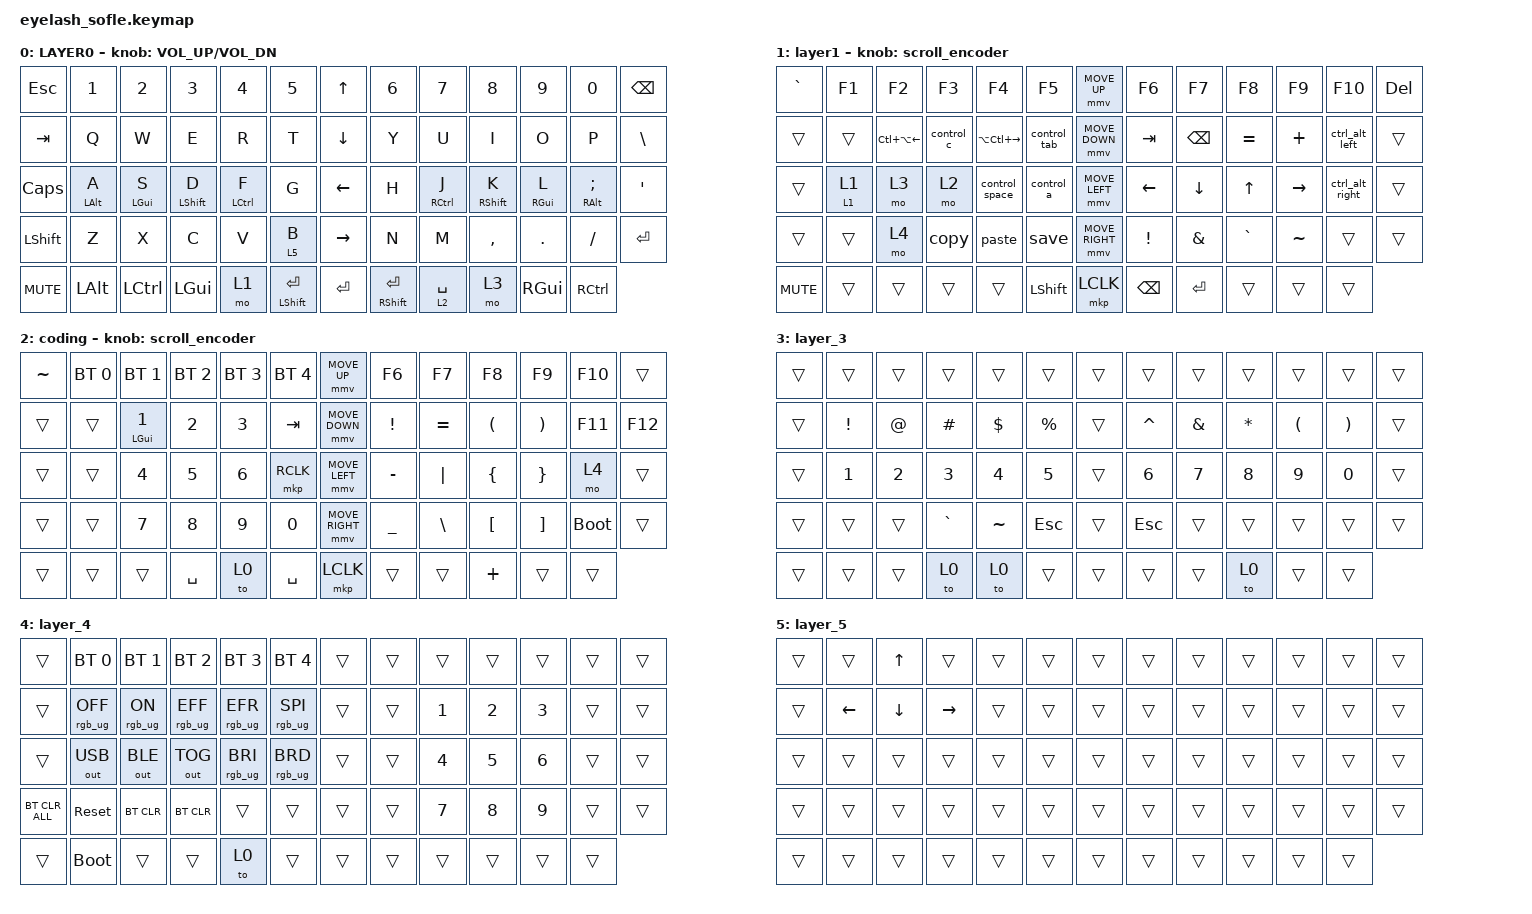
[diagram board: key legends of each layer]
#include <dt-bindings/zmk/mouse.h>
#include <input/processors.dtsi>
#include <behaviors.dtsi>
#include <dt-bindings/zmk/bt.h>
#include <dt-bindings/zmk/keys.h>
#include <dt-bindings/zmk/outputs.h>
#include <dt-bindings/zmk/pointing.h>
#include <dt-bindings/zmk/rgb.h>

/*

   &mmv_input_listener {
       input-processors = <&zip_xy_scaler 2 1>;
   };

   &msc_input_listener {
       input-processors = <&zip_xy_scaler 2 1>;
   };

 */

#define ZMK_MOUSE_DEFAULT_MOVE_VAL 1200  // 600
#define ZMK_MOUSE_DEFAULT_SCRL_VAL 20    // 10

/ {
    behaviors {
        mmv {
            acceleration-exponent = <1>;      // 1
            time-to-max-speed-ms = <900>;    // 40
            delay-ms = <0>;                   // 0
        };

        msc {
            acceleration-exponent = <1>;      // 0
            time-to-max-speed-ms = <400>;      // 500
            delay-ms = <0>;                   //   10
        };
    };

    scroll_encoder: scroll_encoder {
        compatible = "zmk,behavior-sensor-rotate";
        #sensor-binding-cells = <0>;
        bindings = <&msc SCRL_DOWN>, <&msc SCRL_UP>;

        tap-ms = <30>;
    };

    left_hold_homerow: left_hold_homerow {
        compatible = "zmk,behavior-hold-tap";
        label = "LEFT_HOLD_HOMEROW";
        bindings = <&kp>, <&kp>;

        #binding-cells = <2>;
        tapping-term-ms = <250>;
        flavor = "tap-preferred";
        hold-trigger-key-positions = <7 8 9 10 11 24 25 38 37 49 48 47 46 36 35 34 33 50 23 22 21 20>;
    };

    sticky_layer: sticky_layer {
        compatible = "zmk,behavior-hold-tap";
        label = "STICKY_LAYER";
        bindings = <&mo>, <&tog>;

        #binding-cells = <2>;
        hold-trigger-key-positions = <56 61>;
        flavor = "tap-preferred";
        tapping-term-ms = <200>;
    };

    layer_key: layer_key {
        compatible = "zmk,behavior-hold-tap";
        label = "LAYER_KEY";
        bindings = <&mo>, <&kp>;

        #binding-cells = <2>;
        flavor = "tap-preferred";
        require-prior-idle-ms = <100>;
        tapping-term-ms = <200>;
    };

    right_home_row: right_home_row {
        compatible = "zmk,behavior-hold-tap";
        label = "RIGHT_HOME_ROW";
        bindings = <&kp>, <&kp>;

        #binding-cells = <2>;
        tapping-term-ms = <250>;
        flavor = "tap-preferred";
        hold-trigger-key-positions = <14 27 40 41 42 43 44 31 18 17 16 15 1 4 5 3 2 28 29 30>;
    };

    macros {
        control_c: control_c {
            compatible = "zmk,behavior-macro";
            #binding-cells = <0>;
            bindings = <&kp LC(C)>;
            label = "CONTROL_C";
        };

        control_space: control_space {
            compatible = "zmk,behavior-macro";
            #binding-cells = <0>;
            bindings = <&kp LC(SPACE)>;
            label = "CONTROL_SPACE";
        };

        alt_tab: alt_tab {
            compatible = "zmk,behavior-macro";
            #binding-cells = <0>;
            bindings = <&kp LG(TAB)>;
            label = "ALT_TAB";
        };

        layor2: leftgui {
            compatible = "zmk,behavior-macro";
            #binding-cells = <0>;
            bindings = <&mo 2>;
            label = "LEFTGUI";
        };

        copy: copy {
            compatible = "zmk,behavior-macro";
            #binding-cells = <0>;
            bindings = <&kp LG(C)>;
            label = "COPY";
        };

        paste: paste {
            compatible = "zmk,behavior-macro";
            #binding-cells = <0>;
            bindings = <&kp LG(V)>;
            label = "PASTE";
        };

        quit: quit {
            compatible = "zmk,behavior-macro";
            #binding-cells = <0>;
            bindings = <&kp RG(Q)>;
            label = "QUIT";
        };

        save: save {
            compatible = "zmk,behavior-macro";
            #binding-cells = <0>;
            bindings = <&kp LG(S)>;
            label = "SAVE";
        };

        control_a: control_a {
            compatible = "zmk,behavior-macro";
            #binding-cells = <0>;
            bindings = <&kp LC(A)>;
            label = "CONTROL_A";
        };

        control_tab: control_tab {
            compatible = "zmk,behavior-macro";
            #binding-cells = <0>;
            bindings = <&kp LC(TAB)>;
            label = "CONTROL_TAB";
        };

        ctrl_alt_left: ctrl_alt_left {
            compatible = "zmk,behavior-macro";
            #binding-cells = <0>;
            bindings = <&kp LA(LC(LEFT_ARROW))>;
            label = "CTRL_ALT_LEFT";
        };

        ctrl_alt_right: ctrl_alt_right {
            compatible = "zmk,behavior-macro";
            #binding-cells = <0>;
            bindings = <&kp LA(LC(RIGHT))>;
            label = "CTRL_ALT_RIGHT";
        };
    };

    combos {
        compatible = "zmk,combos";

        save {
            bindings = <&sticky_layer 1 1>;
            key-positions = <27 56>;
        };

        escape {
            bindings = <&kp ESCAPE>;
            key-positions = <57 59>;
            timeout-ms = <200>;
        };

        layer2 {
            bindings = <&mo 2>;
            key-positions = <56 29>;
        };

        layer3 {
            bindings = <&mo 3>;
            key-positions = <56 28>;
        };

        layer4 {
            bindings = <&mo 4>;
            key-positions = <56 41>;
        };
    };

    keymap {
        compatible = "zmk,keymap";

        layer0 {
            bindings = <
&kp ESC     &kp N1                         &kp N2                         &kp N3                      &kp N4                      &kp N5                  &kp UP_ARROW     &kp N6                 &kp N7                   &kp N8                   &kp N9                       &kp N0                               &kp BACKSPACE
&kp TAB     &kp Q                          &kp W                          &kp E                       &kp R                       &kp T                   &kp DOWN_ARROW   &kp Y                  &kp U                    &kp I                    &kp O                        &kp P                                &kp BSLH
&kp CAPS    &left_hold_homerow LEFT_ALT A  &left_hold_homerow LEFT_GUI S  &left_hold_homerow LSHFT D  &left_hold_homerow LCTRL F  &kp G                   &kp LEFT_ARROW   &kp H                  &right_home_row RCTRL J  &right_home_row RSHFT K  &right_home_row RIGHT_GUI L  &right_home_row RIGHT_ALT SEMICOLON  &kp APOS
&kp LSHFT   &kp Z                          &kp X                          &kp C                       &kp V                       &layer_key 5 B          &kp RIGHT_ARROW  &kp N                  &kp M                    &kp COMMA                &kp DOT                      &kp FSLH                             &kp ENTER
&kp C_MUTE  &kp LEFT_ALT                   &kp LCTRL                      &kp LEFT_GUI                &mo 1                       &mt LEFT_SHIFT ENTER    &kp ENTER        &mt RIGHT_SHIFT ENTER  &layer_key 2 SPACE       &mo 3                    &kp RIGHT_GUI                &kp RIGHT_CONTROL
            >;

            sensor-bindings = <&inc_dec_kp C_VOLUME_UP C_VOL_DN>;
            display-name = "LAYER0";
        };

        layer_1 {
            bindings = <
&kp GRAVE   &kp F1             &kp F2                  &kp F3      &kp F4             &kp F5            &mmv MOVE_UP     &kp F6          &kp F7         &kp F8        &kp F9     &kp F10          &kp DEL
&trans      &trans             &kp LC(LA(LEFT_ARROW))  &control_c  &kp LA(LC(RIGHT))  &control_tab      &mmv MOVE_DOWN   &kp TAB         &kp BACKSPACE  &kp EQUAL     &kp PLUS   &ctrl_alt_left   &trans
&trans      &sticky_layer 1 1  &mo 3                   &mo 2       &control_space     &control_a        &mmv MOVE_LEFT   &kp LEFT_ARROW  &kp DOWN       &kp UP_ARROW  &kp RIGHT  &ctrl_alt_right  &trans
&trans      &trans             &mo 4                   &copy       &paste             &save             &mmv MOVE_RIGHT  &kp EXCL        &kp AMPS       &kp GRAVE     &kp TILDE  &trans           &trans
&kp C_MUTE  &trans             &trans                  &trans      &trans             &kp LEFT_SHIFT    &mkp LCLK        &kp BACKSPACE   &kp ENTER      &trans        &trans     &trans
            >;

            display-name = "layer1";
            sensor-bindings = <&scroll_encoder>;
        };

        coding {
            bindings = <
&kp TILDE  &bt BT_SEL 0  &bt BT_SEL 1                          &bt BT_SEL 2  &bt BT_SEL 3  &bt BT_SEL 4    &mmv MOVE_UP     &kp F6     &kp F7         &kp F8                &kp F9                 &kp F10      &trans
&trans     &trans        &left_hold_homerow LEFT_GUI NUMBER_1  &kp NUMBER_2  &kp NUMBER_3  &kp TAB         &mmv MOVE_DOWN   &kp EXCL   &kp EQUAL      &kp LEFT_PARENTHESIS  &kp RIGHT_PARENTHESIS  &kp F11      &kp F12
&trans     &trans        &kp NUMBER_4                          &kp NUMBER_5  &kp NUMBER_6  &mkp RCLK       &mmv MOVE_LEFT   &kp MINUS  &kp PIPE       &kp LEFT_BRACE        &kp RIGHT_BRACE        &mo 4        &trans
&trans     &trans        &kp NUMBER_7                          &kp NUMBER_8  &kp NUMBER_9  &kp NUMBER_0    &mmv MOVE_RIGHT  &kp UNDER  &kp BACKSLASH  &kp LEFT_BRACKET      &kp RIGHT_BRACKET      &bootloader  &trans
&trans     &trans        &trans                                &kp SPACE     &to 0         &kp SPACE       &mkp LCLK        &trans     &trans         &kp PLUS              &trans                 &trans
            >;

            sensor-bindings = <&scroll_encoder>;
        };

        layer_3 {
            bindings = <
&trans  &trans        &trans        &trans        &trans        &trans         &trans  &trans        &trans        &trans        &trans                &trans                 &trans
&trans  &kp EXCL      &kp AT        &kp HASH      &kp DOLLAR    &kp PERCENT    &trans  &kp CARET     &kp AMPS      &kp ASTERISK  &kp LEFT_PARENTHESIS  &kp RIGHT_PARENTHESIS  &trans
&trans  &kp NUMBER_1  &kp NUMBER_2  &kp NUMBER_3  &kp NUMBER_4  &kp N5         &trans  &kp NUMBER_6  &kp NUMBER_7  &kp NUMBER_8  &kp NUMBER_9          &kp NUMBER_0           &trans
&trans  &trans        &trans        &kp GRAVE     &kp TILDE     &kp ESCAPE     &trans  &kp ESCAPE    &trans        &trans        &trans                &trans                 &trans
&trans  &trans        &trans        &to 0         &to 0         &trans         &trans  &trans        &trans        &to 0         &trans                &trans
            >;
        };

        layer_4 {
            bindings = <
&trans          &bt BT_SEL 0     &bt BT_SEL 1    &bt BT_SEL 2     &bt BT_SEL 3     &bt BT_SEL 4       &trans  &trans  &trans        &trans        &trans        &trans  &trans
&trans          &rgb_ug RGB_OFF  &rgb_ug RGB_ON  &rgb_ug RGB_EFF  &rgb_ug RGB_EFR  &rgb_ug RGB_SPI    &trans  &trans  &kp NUMBER_1  &kp NUMBER_2  &kp NUMBER_3  &trans  &trans
&trans          &out OUT_USB     &out OUT_BLE    &out OUT_TOG     &rgb_ug RGB_BRI  &rgb_ug RGB_BRD    &trans  &trans  &kp NUMBER_4  &kp NUMBER_5  &kp NUMBER_6  &trans  &trans
&bt BT_CLR_ALL  &sys_reset       &bt BT_CLR      &bt BT_CLR       &trans           &trans             &trans  &trans  &kp NUMBER_7  &kp NUMBER_8  &kp NUMBER_9  &trans  &trans
&trans          &bootloader      &trans          &trans           &to 0            &trans             &trans  &trans  &trans        &trans        &trans        &trans
            >;
        };

        layer_5 {
            bindings = <
&trans  &trans    &kp UP_ARROW  &trans     &trans  &trans    &trans  &trans  &trans  &trans  &trans  &trans  &trans
&trans  &kp LEFT  &kp DOWN      &kp RIGHT  &trans  &trans    &trans  &trans  &trans  &trans  &trans  &trans  &trans
&trans  &trans    &trans        &trans     &trans  &trans    &trans  &trans  &trans  &trans  &trans  &trans  &trans
&trans  &trans    &trans        &trans     &trans  &trans    &trans  &trans  &trans  &trans  &trans  &trans  &trans
&trans  &trans    &trans        &trans     &trans  &trans    &trans  &trans  &trans  &trans  &trans  &trans
            >;
        };
    };
};
